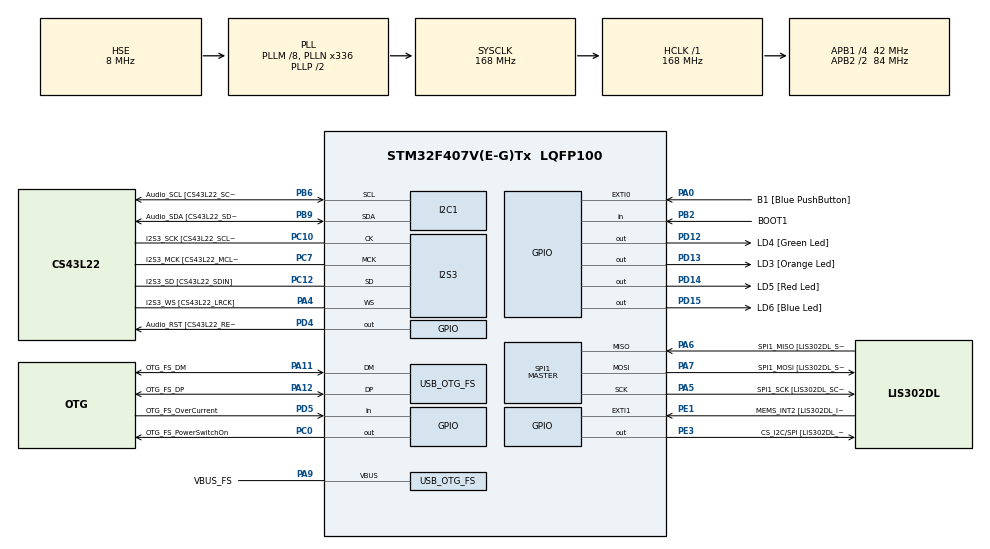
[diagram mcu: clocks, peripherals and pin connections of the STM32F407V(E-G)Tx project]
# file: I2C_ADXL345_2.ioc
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I2C1.I2C_Mode=I2C_Fast
I2S3.AudioFreq-Half_Duplex_Master=I2S_AUDIOFREQ_96K
I2S3.ErrorAudioFreq=-2.34 %
I2S3.ErrorAudioFreq-Half_Duplex_Master=0.8 %
I2S3.FullDuplexMode=I2S_FULLDUPLEXMODE_DISABLE
I2S3.Instance=SPI$Index
I2S3.RealAudioFreq=93.75 KHz
I2S3.RealAudioFreq-Half_Duplex_Master=96.774 KHz
I2S3.VirtualMode=I2S_MODE_MASTER
Mcu.Family=STM32F4
Mcu.Name=STM32F407V(E-G)Tx
Mcu.Package=LQFP100
NVIC.OTG_FS_IRQn=true\:0\:0\:false\:false\:true\:true\:true\:true
NVIC.PriorityGroup=NVIC_PRIORITYGROUP_0
PA0-WKUP.GPIO_Label=B1 [Blue PushButton]
PA0-WKUP.GPIO_ModeDefaultEXTI=GPIO_MODE_EVT_RISING
PA0-WKUP.GPIO_PuPd=GPIO_NOPULL
PA0-WKUP.Signal=GPXTI0
PA10.GPIO_Label=OTG_FS_ID
PA10.GPIO_Mode=GPIO_MODE_AF_PP
PA10.GPIO_PuPd=GPIO_NOPULL
PA10.GPIO_Speed=GPIO_SPEED_FREQ_LOW
PA10.Signal=USB_OTG_FS_ID
PA11.GPIO_Label=OTG_FS_DM
PA11.GPIO_Mode=GPIO_MODE_AF_PP
PA11.GPIO_PuPd=GPIO_NOPULL
PA11.GPIO_Speed=GPIO_SPEED_FREQ_LOW
PA11.Mode=Host_Only
PA11.Signal=USB_OTG_FS_DM
PA12.GPIO_Label=OTG_FS_DP
PA12.GPIO_Mode=GPIO_MODE_AF_PP
PA12.GPIO_PuPd=GPIO_NOPULL
PA12.GPIO_Speed=GPIO_SPEED_FREQ_LOW
PA12.Mode=Host_Only
PA12.Signal=USB_OTG_FS_DP
PA13.GPIO_Label=SWDIO
PA13.Mode=Serial_Wire
PA13.Signal=SYS_JTMS-SWDIO
PA14.GPIO_Label=SWCLK
PA14.Mode=Serial_Wire
PA14.Signal=SYS_JTCK-SWCLK
PA4.GPIO_Label=I2S3_WS [CS43L22_LRCK]
PA4.GPIO_Mode=GPIO_MODE_AF_PP
PA4.GPIO_PuPd=GPIO_NOPULL
PA4.GPIO_Speed=GPIO_SPEED_FREQ_LOW
PA4.Mode=Half_Duplex_Master
PA4.Signal=I2S3_WS
PA5.GPIO_Label=SPI1_SCK [LIS302DL_SCL/SPC]
PA5.GPIO_Mode=GPIO_MODE_AF_PP
PA5.GPIO_PuPd=GPIO_NOPULL
PA5.GPIO_Speed=GPIO_SPEED_FREQ_LOW
PA5.Mode=Full_Duplex_Master
PA5.Signal=SPI1_SCK
PA6.GPIO_Label=SPI1_MISO [LIS302DL_SDO]
PA6.GPIO_Mode=GPIO_MODE_AF_PP
PA6.GPIO_PuPd=GPIO_NOPULL
PA6.GPIO_Speed=GPIO_SPEED_FREQ_LOW
PA6.Mode=Full_Duplex_Master
PA6.Signal=SPI1_MISO
PA7.GPIO_Label=SPI1_MOSI [LIS302DL_SDA/SDI/SDO]
PA7.GPIO_Mode=GPIO_MODE_AF_PP
PA7.GPIO_PuPd=GPIO_NOPULL
PA7.GPIO_Speed=GPIO_SPEED_FREQ_LOW
PA7.Mode=Full_Duplex_Master
PA7.Signal=SPI1_MOSI
PA9.GPIO_Label=VBUS_FS
PA9.GPIO_Mode=GPIO_MODE_INPUT
PA9.GPIO_PuPd=GPIO_NOPULL
PA9.Mode=Activate_VBUS
PA9.Signal=USB_OTG_FS_VBUS
PB10.GPIO_Label=CLK_IN [MP45DT02_CLK]
PB10.GPIO_Mode=GPIO_MODE_AF_PP
PB10.GPIO_PuPd=GPIO_NOPULL
PB10.GPIO_Speed=GPIO_SPEED_FREQ_LOW
PB10.Signal=I2S2_CK
PB2.GPIO_Label=BOOT1
PB2.GPIO_Mode=GPIO_MODE_INPUT
PB2.GPIO_PuPd=GPIO_NOPULL
PB2.Signal=GPIO_Input
PB3.GPIO_Label=SWO
PB3.Signal=SYS_JTDO-SWO
PB6.GPIO_Label=Audio_SCL [CS43L22_SCL]
PB6.GPIO_Mode=GPIO_MODE_AF_OD
PB6.GPIO_Pu=GPIO_PULLUP
PB6.GPIO_PuPd=GPIO_NOPULL
PB6.GPIO_Speed=GPIO_SPEED_FREQ_LOW
PB6.Mode=I2C
PB6.Signal=I2C1_SCL
PB9.GPIO_Label=Audio_SDA [CS43L22_SDA]
PB9.GPIO_Mode=GPIO_MODE_AF_OD
PB9.GPIO_Pu=GPIO_PULLUP
PB9.GPIO_PuPd=GPIO_NOPULL
PB9.GPIO_Speed=GPIO_SPEED_FREQ_LOW
PB9.Mode=I2C
PB9.Signal=I2C1_SDA
PC0.GPIO_Label=OTG_FS_PowerSwitchOn
PC0.GPIO_PuPd=GPIO_NOPULL
PC0.GPIO_Speed=GPIO_SPEED_FREQ_LOW
PC0.PinState=GPIO_PIN_SET
PC0.Signal=GPIO_Output
PC10.GPIO_Label=I2S3_SCK [CS43L22_SCLK]
PC10.GPIO_Mode=GPIO_MODE_AF_PP
PC10.GPIO_PuPd=GPIO_NOPULL
PC10.GPIO_Speed=GPIO_SPEED_FREQ_LOW
PC10.Mode=Half_Duplex_Master
PC10.Signal=I2S3_CK
PC12.GPIO_Label=I2S3_SD [CS43L22_SDIN]
PC12.GPIO_Mode=GPIO_MODE_AF_PP
PC12.GPIO_PuPd=GPIO_NOPULL
PC12.GPIO_Speed=GPIO_SPEED_FREQ_LOW
PC12.Mode=Half_Duplex_Master
PC12.Signal=I2S3_SD
PC14-OSC32_IN.GPIO_Label=PC14-OSC32_IN
PC14-OSC32_IN.Mode=LSE-External-Oscillator
PC14-OSC32_IN.Signal=RCC_OSC32_IN
PC15-OSC32_OUT.GPIO_Label=PC15-OSC32_OUT
PC15-OSC32_OUT.Mode=LSE-External-Oscillator
PC15-OSC32_OUT.Signal=RCC_OSC32_OUT
PC3.GPIO_Label=PDM_OUT [MP45DT02_DOUT]
PC3.GPIO_Mode=GPIO_MODE_AF_PP
PC3.GPIO_PuPd=GPIO_NOPULL
PC3.GPIO_Speed=GPIO_SPEED_FREQ_LOW
PC3.Signal=I2S2_SD
PC7.GPIO_Label=I2S3_MCK [CS43L22_MCLK]
PC7.GPIO_Mode=GPIO_MODE_AF_PP
PC7.GPIO_PuPd=GPIO_NOPULL
PC7.GPIO_Speed=GPIO_SPEED_FREQ_LOW
PC7.Mode=Master_Clock_Activated
PC7.Signal=I2S3_MCK
PD12.GPIO_Label=LD4 [Green Led]
PD12.GPIO_PuPd=GPIO_NOPULL
PD12.GPIO_Speed=GPIO_SPEED_FREQ_LOW
PD12.Signal=GPIO_Output
PD13.GPIO_Label=LD3 [Orange Led]
PD13.GPIO_PuPd=GPIO_NOPULL
PD13.GPIO_Speed=GPIO_SPEED_FREQ_LOW
PD13.Signal=GPIO_Output
PD14.GPIO_Label=LD5 [Red Led]
PD14.GPIO_PuPd=GPIO_NOPULL
PD14.GPIO_Speed=GPIO_SPEED_FREQ_LOW
PD14.Signal=GPIO_Output
PD15.GPIO_Label=LD6 [Blue Led]
PD15.GPIO_PuPd=GPIO_NOPULL
PD15.GPIO_Speed=GPIO_SPEED_FREQ_LOW
PD15.Signal=GPIO_Output
PD4.GPIO_Label=Audio_RST [CS43L22_RESET]
PD4.GPIO_PuPd=GPIO_NOPULL
PD4.GPIO_Speed=GPIO_SPEED_FREQ_LOW
PD4.Signal=GPIO_Output
PD5.GPIO_Label=OTG_FS_OverCurrent
PD5.GPIO_Mode=GPIO_MODE_INPUT
PD5.GPIO_PuPd=GPIO_NOPULL
PD5.Signal=GPIO_Input
PE1.GPIO_Label=MEMS_INT2 [LIS302DL_INT2]
PE1.GPIO_ModeDefaultEXTI=GPIO_MODE_EVT_RISING
PE1.GPIO_PuPd=GPIO_NOPULL
PE1.Signal=GPXTI1
PE3.GPIO_Label=CS_I2C/SPI [LIS302DL_CS_I2C/SPI]
PE3.GPIO_PuPd=GPIO_NOPULL
PE3.GPIO_Speed=GPIO_SPEED_FREQ_LOW
PE3.Signal=GPIO_Output
PH0-OSC_IN.GPIO_Label=PH0-OSC_IN
PH0-OSC_IN.Mode=HSE-External-Oscillator
PH0-OSC_IN.Signal=RCC_OSC_IN
PH1-OSC_OUT.GPIO_Label=PH1-OSC_OUT
PH1-OSC_OUT.Mode=HSE-External-Oscillator
PH1-OSC_OUT.Signal=RCC_OSC_OUT
ProjectManager.HeapSize=0x200
ProjectManager.StackSize=0x400
ProjectManager.TargetToolchain=STM32CubeIDE
RCC.48MHZClocksFreq_Value=48000000
RCC.AHBFreq_Value=168000000
RCC.APB1CLKDivider=RCC_HCLK_DIV4
RCC.APB1Freq_Value=42000000
RCC.APB1TimFreq_Value=84000000
RCC.APB2CLKDivider=RCC_HCLK_DIV2
RCC.APB2Freq_Value=84000000
RCC.APB2TimFreq_Value=168000000
RCC.CortexFreq_Value=168000000
RCC.HCLKFreq_Value=168000000
RCC.HSE_VALUE=8000000
RCC.HSI_VALUE=16000000
RCC.PLLM=8
RCC.PLLN=336
RCC.PLLQ=7
RCC.SYSCLKFreq_VALUE=168000000
RCC.SYSCLKSource=RCC_SYSCLKSOURCE_PLLCLK
RCC.VCOOutputFreq_Value=336000000
SPI1.BaudRatePrescaler-Full_Duplex_Master=SPI_BAUDRATEPRESCALER_2
SPI1.CalculateBaudRate-Full_Duplex_Master=42.0 MBits/s
SPI1.Direction=SPI_DIRECTION_2LINES
SPI1.Mode=SPI_MODE_MASTER
SPI1.Mode-Full_Duplex_Master=SPI_MODE_MASTER
SPI1.VirtualType=VM_MASTER
USB_HOST.BSP.number=1
USB_HOST.USBH_HandleTypeDef-CDC_FS=hUsbHostFS
USB_HOST.VirtualModeFS=Cdc
USB_HOST0.BSP.STBoard=false
USB_HOST0.BSP.api=Unknown
USB_HOST0.BSP.instance=PC0
USB_HOST0.BSP.ip=GPIO
USB_HOST0.BSP.mode=Output
USB_HOST0.BSP.name=Drive_VBUS_FS
USB_HOST0.BSP.solution=PC0
USB_OTG_FS.VirtualMode=Host_Only
USB_OTG_FS.phy_itface=HCD_PHY_EMBEDDED
VP_USB_HOST_VS_USB_HOST_CDC_FS.Mode=CDC_FS
board=STM32F407G-DISC1

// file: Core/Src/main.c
/* USER CODE BEGIN Header */
/**
  ******************************************************************************
  * @file           : main.c
  * @brief          : Main program body
  ******************************************************************************
  * @attention
  *
  * Copyright (c) 2024 STMicroelectronics.
  * All rights reserved.
  *
  * This software is licensed under terms that can be found in the LICENSE file
  * in the root directory of this software component.
  * If no LICENSE file comes with this software, it is provided AS-IS.
  *
  ******************************************************************************
  */
/* USER CODE END Header */
#include "main.h"
#include "usb_host.h"

/* USER CODE BEGIN PD */
#define ADXL345_I2C_SLAVE_ADDRESS 0xA6
/* USER CODE END PD */

I2C_HandleTypeDef hi2c1;

I2S_HandleTypeDef hi2s3;

SPI_HandleTypeDef hspi1;

/* USER CODE BEGIN PV */
int i;
uint8_t myDatas[6];

int16_t x,y,z;
float xG, yG, zG;
/* USER CODE END PV */

void SystemClock_Config(void);
static void MX_GPIO_Init(void);
static void MX_I2C1_Init(void);
static void MX_I2S3_Init(void);
static void MX_SPI1_Init(void);
void MX_USB_HOST_Process(void);

/* USER CODE BEGIN PFP */
void Scan_I2C_Address();
void ADXL345_Init();
void ADXL345_Read(uint8_t rRegister, uint8_t numberOfBytes);
void ADXL345_Read(uint8_t rRegister, uint8_t numberOfBytes);

/* USER CODE END PFP */

int main(void)
{

  /* MCU Configuration--------------------------------------------------------*/

  /* Reset of all peripherals, Initializes the Flash interface and the Systick. */
  HAL_Init();

  /* Configure the system clock */
  SystemClock_Config();

  /* Initialize all configured peripherals */
  MX_GPIO_Init();
  MX_I2C1_Init();
  MX_I2S3_Init();
  MX_SPI1_Init();
  MX_USB_HOST_Init();
  /* USER CODE BEGIN 2 */
  void Scan_I2C_Address();
  void ADXL345_Init();
  /* USER CODE END 2 */

  /* Infinite loop */
  while (1)
  {
	  MX_USB_HOST_Process();
	  ADXL345_Read(0x32, 6); //0x32,0x33...0x37 read 6 bits value

	 x=(myDatas[1]<<8 | myDatas[0]);
	 y=(myDatas[3]<<8 | myDatas[2]);
	 z=(myDatas[5]<<8 | myDatas[4]);

	 xG = x * .0087;
	 yG = y * .0087;
	 zG = z * .0087;

  }
}

void SystemClock_Config(void)
{
  RCC_OscInitTypeDef RCC_OscInitStruct = {0};
  RCC_ClkInitTypeDef RCC_ClkInitStruct = {0};

  /** Configure the main internal regulator output voltage
  */
  __HAL_RCC_PWR_CLK_ENABLE();
  __HAL_PWR_VOLTAGESCALING_CONFIG(PWR_REGULATOR_VOLTAGE_SCALE1);

  /** Initializes the RCC Oscillators according to the specified parameters
  * in the RCC_OscInitTypeDef structure.
  */
  RCC_OscInitStruct.OscillatorType = RCC_OSCILLATORTYPE_HSE;
  RCC_OscInitStruct.HSEState = RCC_HSE_ON;
  RCC_OscInitStruct.PLL.PLLState = RCC_PLL_ON;
  RCC_OscInitStruct.PLL.PLLSource = RCC_PLLSOURCE_HSE;
  RCC_OscInitStruct.PLL.PLLM = 8;
  RCC_OscInitStruct.PLL.PLLN = 336;
  RCC_OscInitStruct.PLL.PLLP = RCC_PLLP_DIV2;
  RCC_OscInitStruct.PLL.PLLQ = 7;
  if (HAL_RCC_OscConfig(&RCC_OscInitStruct) != HAL_OK)
  {
    Error_Handler();
  }

  /** Initializes the CPU, AHB and APB buses clocks
  */
  RCC_ClkInitStruct.ClockType = RCC_CLOCKTYPE_HCLK|RCC_CLOCKTYPE_SYSCLK
                              |RCC_CLOCKTYPE_PCLK1|RCC_CLOCKTYPE_PCLK2;
  RCC_ClkInitStruct.SYSCLKSource = RCC_SYSCLKSOURCE_PLLCLK;
  RCC_ClkInitStruct.AHBCLKDivider = RCC_SYSCLK_DIV1;
  RCC_ClkInitStruct.APB1CLKDivider = RCC_HCLK_DIV4;
  RCC_ClkInitStruct.APB2CLKDivider = RCC_HCLK_DIV2;

  if (HAL_RCC_ClockConfig(&RCC_ClkInitStruct, FLASH_LATENCY_5) != HAL_OK)
  {
    Error_Handler();
  }
}

static void MX_I2C1_Init(void)
{

  hi2c1.Instance = I2C1;
  hi2c1.Init.ClockSpeed = 400000;
  hi2c1.Init.DutyCycle = I2C_DUTYCYCLE_2;
  hi2c1.Init.OwnAddress1 = 0;
  hi2c1.Init.AddressingMode = I2C_ADDRESSINGMODE_7BIT;
  hi2c1.Init.DualAddressMode = I2C_DUALADDRESS_DISABLE;
  hi2c1.Init.OwnAddress2 = 0;
  hi2c1.Init.GeneralCallMode = I2C_GENERALCALL_DISABLE;
  hi2c1.Init.NoStretchMode = I2C_NOSTRETCH_DISABLE;
  if (HAL_I2C_Init(&hi2c1) != HAL_OK)
  {
    Error_Handler();
  }

}

static void MX_I2S3_Init(void)
{

  hi2s3.Instance = SPI3;
  hi2s3.Init.Mode = I2S_MODE_MASTER_TX;
  hi2s3.Init.Standard = I2S_STANDARD_PHILIPS;
  hi2s3.Init.DataFormat = I2S_DATAFORMAT_16B;
  hi2s3.Init.MCLKOutput = I2S_MCLKOUTPUT_ENABLE;
  hi2s3.Init.AudioFreq = I2S_AUDIOFREQ_96K;
  hi2s3.Init.CPOL = I2S_CPOL_LOW;
  hi2s3.Init.ClockSource = I2S_CLOCK_PLL;
  hi2s3.Init.FullDuplexMode = I2S_FULLDUPLEXMODE_DISABLE;
  if (HAL_I2S_Init(&hi2s3) != HAL_OK)
  {
    Error_Handler();
  }

}

static void MX_SPI1_Init(void)
{

  /* SPI1 parameter configuration*/
  hspi1.Instance = SPI1;
  hspi1.Init.Mode = SPI_MODE_MASTER;
  hspi1.Init.Direction = SPI_DIRECTION_2LINES;
  hspi1.Init.DataSize = SPI_DATASIZE_8BIT;
  hspi1.Init.CLKPolarity = SPI_POLARITY_LOW;
  hspi1.Init.CLKPhase = SPI_PHASE_1EDGE;
  hspi1.Init.NSS = SPI_NSS_SOFT;
  hspi1.Init.BaudRatePrescaler = SPI_BAUDRATEPRESCALER_2;
  hspi1.Init.FirstBit = SPI_FIRSTBIT_MSB;
  hspi1.Init.TIMode = SPI_TIMODE_DISABLE;
  hspi1.Init.CRCCalculation = SPI_CRCCALCULATION_DISABLE;
  hspi1.Init.CRCPolynomial = 10;
  if (HAL_SPI_Init(&hspi1) != HAL_OK)
  {
    Error_Handler();
  }

}

static void MX_GPIO_Init(void)
{
  GPIO_InitTypeDef GPIO_InitStruct = {0};

  /* GPIO Ports Clock Enable */
  __HAL_RCC_GPIOE_CLK_ENABLE();
  __HAL_RCC_GPIOC_CLK_ENABLE();
  __HAL_RCC_GPIOH_CLK_ENABLE();
  __HAL_RCC_GPIOA_CLK_ENABLE();
  __HAL_RCC_GPIOB_CLK_ENABLE();
  __HAL_RCC_GPIOD_CLK_ENABLE();

  /*Configure GPIO pin Output Level */
  HAL_GPIO_WritePin(CS_I2C_SPI_GPIO_Port, CS_I2C_SPI_Pin, GPIO_PIN_RESET);

  /*Configure GPIO pin Output Level */
  HAL_GPIO_WritePin(OTG_FS_PowerSwitchOn_GPIO_Port, OTG_FS_PowerSwitchOn_Pin, GPIO_PIN_SET);

  /*Configure GPIO pin Output Level */
  HAL_GPIO_WritePin(GPIOD, LD4_Pin|LD3_Pin|LD5_Pin|LD6_Pin
                          |Audio_RST_Pin, GPIO_PIN_RESET);

  /*Configure GPIO pin : CS_I2C_SPI_Pin */
  GPIO_InitStruct.Pin = CS_I2C_SPI_Pin;
  GPIO_InitStruct.Mode = GPIO_MODE_OUTPUT_PP;
  GPIO_InitStruct.Pull = GPIO_NOPULL;
  GPIO_InitStruct.Speed = GPIO_SPEED_FREQ_LOW;
  HAL_GPIO_Init(CS_I2C_SPI_GPIO_Port, &GPIO_InitStruct);

  /*Configure GPIO pin : OTG_FS_PowerSwitchOn_Pin */
  GPIO_InitStruct.Pin = OTG_FS_PowerSwitchOn_Pin;
  GPIO_InitStruct.Mode = GPIO_MODE_OUTPUT_PP;
  GPIO_InitStruct.Pull = GPIO_NOPULL;
  GPIO_InitStruct.Speed = GPIO_SPEED_FREQ_LOW;
  HAL_GPIO_Init(OTG_FS_PowerSwitchOn_GPIO_Port, &GPIO_InitStruct);

  /*Configure GPIO pin : PDM_OUT_Pin */
  GPIO_InitStruct.Pin = PDM_OUT_Pin;
  GPIO_InitStruct.Mode = GPIO_MODE_AF_PP;
  GPIO_InitStruct.Pull = GPIO_NOPULL;
  GPIO_InitStruct.Speed = GPIO_SPEED_FREQ_LOW;
  GPIO_InitStruct.Alternate = GPIO_AF5_SPI2;
  HAL_GPIO_Init(PDM_OUT_GPIO_Port, &GPIO_InitStruct);

  /*Configure GPIO pin : B1_Pin */
  GPIO_InitStruct.Pin = B1_Pin;
  GPIO_InitStruct.Mode = GPIO_MODE_EVT_RISING;
  GPIO_InitStruct.Pull = GPIO_NOPULL;
  HAL_GPIO_Init(B1_GPIO_Port, &GPIO_InitStruct);

  /*Configure GPIO pin : BOOT1_Pin */
  GPIO_InitStruct.Pin = BOOT1_Pin;
  GPIO_InitStruct.Mode = GPIO_MODE_INPUT;
  GPIO_InitStruct.Pull = GPIO_NOPULL;
  HAL_GPIO_Init(BOOT1_GPIO_Port, &GPIO_InitStruct);

  /*Configure GPIO pin : CLK_IN_Pin */
  GPIO_InitStruct.Pin = CLK_IN_Pin;
  GPIO_InitStruct.Mode = GPIO_MODE_AF_PP;
  GPIO_InitStruct.Pull = GPIO_NOPULL;
  GPIO_InitStruct.Speed = GPIO_SPEED_FREQ_LOW;
  GPIO_InitStruct.Alternate = GPIO_AF5_SPI2;
  HAL_GPIO_Init(CLK_IN_GPIO_Port, &GPIO_InitStruct);

  /*Configure GPIO pins : LD4_Pin LD3_Pin LD5_Pin LD6_Pin
                           Audio_RST_Pin */
  GPIO_InitStruct.Pin = LD4_Pin|LD3_Pin|LD5_Pin|LD6_Pin
                          |Audio_RST_Pin;
  GPIO_InitStruct.Mode = GPIO_MODE_OUTPUT_PP;
  GPIO_InitStruct.Pull = GPIO_NOPULL;
  GPIO_InitStruct.Speed = GPIO_SPEED_FREQ_LOW;
  HAL_GPIO_Init(GPIOD, &GPIO_InitStruct);

  /*Configure GPIO pin : OTG_FS_OverCurrent_Pin */
  GPIO_InitStruct.Pin = OTG_FS_OverCurrent_Pin;
  GPIO_InitStruct.Mode = GPIO_MODE_INPUT;
  GPIO_InitStruct.Pull = GPIO_NOPULL;
  HAL_GPIO_Init(OTG_FS_OverCurrent_GPIO_Port, &GPIO_InitStruct);

  /*Configure GPIO pin : MEMS_INT2_Pin */
  GPIO_InitStruct.Pin = MEMS_INT2_Pin;
  GPIO_InitStruct.Mode = GPIO_MODE_EVT_RISING;
  GPIO_InitStruct.Pull = GPIO_NOPULL;
  HAL_GPIO_Init(MEMS_INT2_GPIO_Port, &GPIO_InitStruct);

}

/* USER CODE BEGIN 4 */
void Scan_I2C_Address() // func find slave address
{
	for(i = 0; i<=255; i++)
	{
		if(HAL_I2C_IsDeviceReady(&hi2c1,i,1,10) == HAL_OK) // i = slave address
			break;
	}
}

void ADXL345_Write(uint8_t wRegister, uint8_t value)
{
	uint8_t data[2]={0};
	data[0]=wRegister;
	data[1]=value;

	HAL_I2C_Master_Transmit(&hi2c1, ADXL345_I2C_SLAVE_ADDRESS, data, 2, 100);

}

void ADXL345_Read(uint8_t rRegister, uint8_t numberOfBytes)
{
	HAL_I2C_Mem_Read(&hi2c1, ADXL345_I2C_SLAVE_ADDRESS, rRegister, 1, myDatas, 1, 100);
}

void ADXL345_Init() // adxl345 init settings
{
	ADXL345_Read(0x00, 1); // read value(1 byte) from to 0x00 register
	ADXL345_Write(0x2D, 0); //RESET POWER CONTROL REGISTER ALL BITS
	ADXL345_Write(0x2D, 0x08); // measure bit 1, wake up bit 0, auto-sleep bits 0, wake up 8hz
	ADXL345_Write(0x31, 0x01); //+- 4 g range

}

/* USER CODE END 4 */

void Error_Handler(void)
{
  __disable_irq();
  while (1)
  {
  }
}
